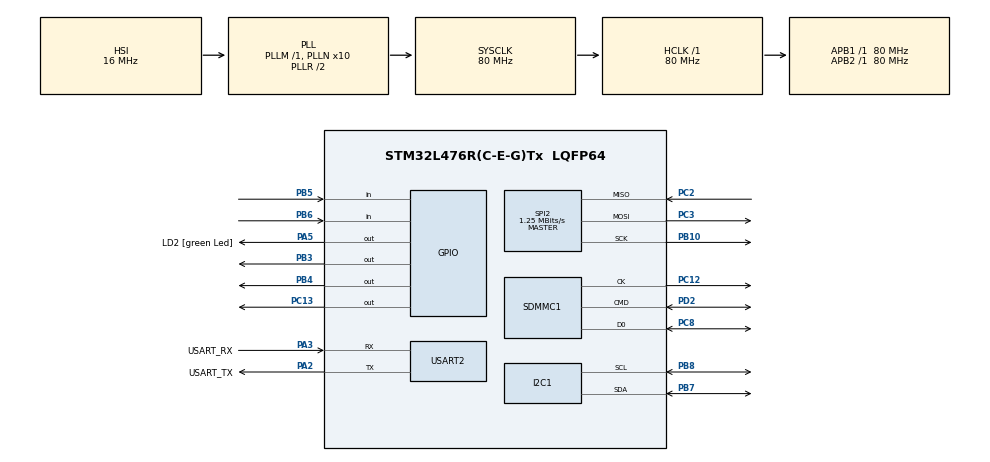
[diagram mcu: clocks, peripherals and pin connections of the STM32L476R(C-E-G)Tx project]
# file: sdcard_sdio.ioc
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Dma.I2C1_RX.0.Direction=DMA_PERIPH_TO_MEMORY
Dma.I2C1_RX.0.Instance=DMA2_Channel6
Dma.I2C1_RX.0.MemDataAlignment=DMA_MDATAALIGN_BYTE
Dma.I2C1_RX.0.MemInc=DMA_MINC_ENABLE
Dma.I2C1_RX.0.Mode=DMA_CIRCULAR
Dma.I2C1_RX.0.PeriphDataAlignment=DMA_PDATAALIGN_BYTE
Dma.I2C1_RX.0.PeriphInc=DMA_PINC_DISABLE
Dma.I2C1_RX.0.Priority=DMA_PRIORITY_LOW
Dma.I2C1_TX.1.Direction=DMA_MEMORY_TO_PERIPH
Dma.I2C1_TX.1.Instance=DMA2_Channel7
Dma.I2C1_TX.1.MemDataAlignment=DMA_MDATAALIGN_BYTE
Dma.I2C1_TX.1.MemInc=DMA_MINC_ENABLE
Dma.I2C1_TX.1.Mode=DMA_CIRCULAR
Dma.I2C1_TX.1.PeriphDataAlignment=DMA_PDATAALIGN_BYTE
Dma.I2C1_TX.1.PeriphInc=DMA_PINC_DISABLE
Dma.I2C1_TX.1.Priority=DMA_PRIORITY_LOW
Dma.Request0=I2C1_RX
Dma.Request1=I2C1_TX
Dma.Request2=USART2_RX
Dma.Request3=USART2_TX
Dma.USART2_RX.2.Direction=DMA_PERIPH_TO_MEMORY
Dma.USART2_RX.2.Instance=DMA1_Channel6
Dma.USART2_RX.2.MemDataAlignment=DMA_MDATAALIGN_BYTE
Dma.USART2_RX.2.MemInc=DMA_MINC_ENABLE
Dma.USART2_RX.2.Mode=DMA_NORMAL
Dma.USART2_RX.2.PeriphDataAlignment=DMA_PDATAALIGN_BYTE
Dma.USART2_RX.2.PeriphInc=DMA_PINC_DISABLE
Dma.USART2_RX.2.Priority=DMA_PRIORITY_LOW
Dma.USART2_TX.3.Direction=DMA_MEMORY_TO_PERIPH
Dma.USART2_TX.3.Instance=DMA1_Channel7
Dma.USART2_TX.3.MemDataAlignment=DMA_MDATAALIGN_BYTE
Dma.USART2_TX.3.MemInc=DMA_MINC_ENABLE
Dma.USART2_TX.3.Mode=DMA_NORMAL
Dma.USART2_TX.3.PeriphDataAlignment=DMA_PDATAALIGN_BYTE
Dma.USART2_TX.3.PeriphInc=DMA_PINC_DISABLE
Dma.USART2_TX.3.Priority=DMA_PRIORITY_LOW
FATFS.BSP.number=1
FATFS.USE_DMA_CODE_SD=0
FATFS0.BSP.STBoard=false
FATFS0.BSP.api=Unknown
FATFS0.BSP.instance=PB6
FATFS0.BSP.ip=GPIO
FATFS0.BSP.mode=Input
FATFS0.BSP.name=Detect_SDIO
FATFS0.BSP.solution=PB6
I2C1.Timing=0x10909CEC
Mcu.Family=STM32L4
Mcu.Name=STM32L476R(C-E-G)Tx
Mcu.Package=LQFP64
NVIC.DMA1_Channel6_IRQn=true\:0\:0\:false\:false\:true\:false\:true\:true
NVIC.DMA1_Channel7_IRQn=true\:0\:0\:false\:false\:true\:false\:true\:true
NVIC.DMA2_Channel6_IRQn=true\:0\:0\:false\:false\:true\:false\:true\:true
NVIC.DMA2_Channel7_IRQn=true\:0\:0\:false\:false\:true\:false\:true\:true
NVIC.PriorityGroup=NVIC_PRIORITYGROUP_4
NVIC.SDMMC1_IRQn=true\:0\:0\:false\:false\:true\:true\:true\:true
NVIC.TIM1_UP_TIM16_IRQn=true\:0\:0\:false\:false\:true\:true\:true\:true
PA13\ (JTMS-SWDIO).GPIO_Label=TMS
PA13\ (JTMS-SWDIO).Mode=Serial_Wire
PA13\ (JTMS-SWDIO).Signal=SYS_JTMS-SWDIO
PA14\ (JTCK-SWCLK).GPIO_Label=TCK
PA14\ (JTCK-SWCLK).Mode=Serial_Wire
PA14\ (JTCK-SWCLK).Signal=SYS_JTCK-SWCLK
PA2.GPIO_Label=USART_TX
PA2.GPIO_Mode=GPIO_MODE_AF_PP
PA2.GPIO_PuPd=GPIO_NOPULL
PA2.GPIO_Speed=GPIO_SPEED_FREQ_VERY_HIGH
PA2.Mode=Asynchronous
PA2.Signal=USART2_TX
PA3.GPIO_Label=USART_RX
PA3.GPIO_Mode=GPIO_MODE_AF_PP
PA3.GPIO_PuPd=GPIO_NOPULL
PA3.GPIO_Speed=GPIO_SPEED_FREQ_VERY_HIGH
PA3.Mode=Asynchronous
PA3.Signal=USART2_RX
PA5.GPIO_Label=LD2 [green Led]
PA5.GPIO_ModeDefaultOutputPP=GPIO_MODE_OUTPUT_PP
PA5.GPIO_PuPd=GPIO_NOPULL
PA5.GPIO_Speed=GPIO_SPEED_FREQ_LOW
PA5.Signal=GPIO_Output
PB10.Mode=Full_Duplex_Master
PB10.Signal=SPI2_SCK
PB3\ (JTDO-TRACESWO).Signal=GPIO_Output
PB4\ (NJTRST).Signal=GPIO_Output
PB5.Signal=GPIO_Input
PB6.Signal=GPIO_Input
PB7.Mode=I2C
PB7.Signal=I2C1_SDA
PB8.Mode=I2C
PB8.Signal=I2C1_SCL
PC12.GPIO_PuPd=GPIO_NOPULL
PC12.Mode=SD_1_bit
PC12.Signal=SDMMC1_CK
PC13.Signal=GPIO_Output
PC14-OSC32_IN\ (PC14).Mode=LSE-External-Oscillator
PC14-OSC32_IN\ (PC14).Signal=RCC_OSC32_IN
PC15-OSC32_OUT\ (PC15).Mode=LSE-External-Oscillator
PC15-OSC32_OUT\ (PC15).Signal=RCC_OSC32_OUT
PC2.Mode=Full_Duplex_Master
PC2.Signal=SPI2_MISO
PC3.Mode=Full_Duplex_Master
PC3.Signal=SPI2_MOSI
PC8.GPIO_PuPd=GPIO_NOPULL
PC8.Mode=SD_1_bit
PC8.Signal=SDMMC1_D0
PD2.GPIO_PuPd=GPIO_NOPULL
PD2.Mode=SD_1_bit
PD2.Signal=SDMMC1_CMD
PH0-OSC_IN\ (PH0).Signal=RCC_OSC_IN
PH1-OSC_OUT\ (PH1).Signal=RCC_OSC_OUT
ProjectManager.HeapSize=0x2000
ProjectManager.StackSize=0x4000
ProjectManager.TargetToolchain=STM32CubeIDE
RCC.ADCFreq_Value=64000000
RCC.AHBFreq_Value=80000000
RCC.APB1Freq_Value=80000000
RCC.APB1TimFreq_Value=80000000
RCC.APB2Freq_Value=80000000
RCC.APB2TimFreq_Value=80000000
RCC.CortexFreq_Value=80000000
RCC.HCLKFreq_Value=80000000
RCC.HSE_VALUE=8000000
RCC.HSI_VALUE=16000000
RCC.MSI_VALUE=4000000
RCC.PLLN=10
RCC.PLLSAI1Q=RCC_PLLQ_DIV4
RCC.PLLSourceVirtual=RCC_PLLSOURCE_HSI
RCC.PREFETCH_ENABLE=1
RCC.SYSCLKFreq_VALUE=80000000
RCC.SYSCLKSource=RCC_SYSCLKSOURCE_PLLCLK
RCC.USBFreq_Value=32000000
RCC.VCOOutputFreq_Value=160000000
RTC.Date=9
RTC.Format=RTC_FORMAT_BIN
RTC.Hours=11
RTC.Minutes=12
RTC.Month=RTC_MONTH_NOVEMBER
RTC.WeekDay=RTC_WEEKDAY_WEDNESDAY
SPI2.BaudRatePrescaler=SPI_BAUDRATEPRESCALER_64
SPI2.CLKPhase=SPI_PHASE_2EDGE
SPI2.CLKPolarity=SPI_POLARITY_HIGH
SPI2.CalculateBaudRate=1.25 MBits/s
SPI2.DataSize=SPI_DATASIZE_8BIT
SPI2.Direction=SPI_DIRECTION_2LINES
SPI2.Mode=SPI_MODE_MASTER
SPI2.VirtualType=VM_MASTER
TIM16.Period=1000
TIM16.Prescaler=7999
USART2.DMADisableonRxErrorParam=ADVFEATURE_DMA_DISABLEONRXERROR
USART2.VirtualMode-Asynchronous=VM_ASYNC
VP_FATFS_VS_SDIO.Mode=SDIO
VP_RTC_VS_RTC_Activate.Mode=RTC_Enabled
VP_RTC_VS_RTC_Calendar.Mode=RTC_Calendar
VP_TIM16_VS_ClockSourceINT.Mode=Enable_Timer
board=NUCLEO-L476RG

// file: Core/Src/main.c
/* USER CODE BEGIN Header */
/**
  ******************************************************************************
  * @file           : main.c
  * @brief          : Main program body
  ******************************************************************************
  * @attention
  *
  * Copyright (c) 2022 STMicroelectronics.
  * All rights reserved.
  *
  * This software is licensed under terms that can be found in the LICENSE file
  * in the root directory of this software component.
  * If no LICENSE file comes with this software, it is provided AS-IS.
  *
  ******************************************************************************
  */
/* USER CODE END Header */
#include "main.h"
#include "fatfs.h"

/* USER CODE BEGIN Includes */
#include "bno080.h"
#include "string.h"
#include "stm32l4xx_hal_rtc.h"
#include "stm32l4xx_hal_rtc_ex.h"
#include "i2c_sensors.h"
#include "logging.h"
#include "bno055_wrapper.h"

/* USER CODE END Includes */

/* USER CODE BEGIN PD */

// Sensor flags
#define USE_FUEL_GAUGE 1
#define USE_PRESSURE_SNSR 1
#define USE_LIGHT_SNSR 1
#define USE_IMU 1

/* USER CODE END PD */

I2C_HandleTypeDef hi2c1;
DMA_HandleTypeDef hdma_i2c1_rx;
DMA_HandleTypeDef hdma_i2c1_tx;

RTC_HandleTypeDef hrtc;

SD_HandleTypeDef hsd1;

SPI_HandleTypeDef hspi2;

TIM_HandleTypeDef htim16;

UART_HandleTypeDef huart2;
DMA_HandleTypeDef hdma_usart2_rx;
DMA_HandleTypeDef hdma_usart2_tx;

/* USER CODE BEGIN PV */
RTC_HandleTypeDef RtcHandle;

static char const header[] =
        "Time:Date, State, WaterTemp degC, "
        "Pressure bar, Batt_V1 V, Batt_V2 V, Batt_I mA, Quat_i, Quat_j, "
        "Quat_k, Quat_Re, AmbientLight, GPS \n";

uint8_t rxData[GPS_LOCATION_LENGTH];

/* USER CODE END PV */

void SystemClock_Config(void);
static void MX_GPIO_Init(void);
static void MX_DMA_Init(void);
static void MX_SDMMC1_SD_Init(void);
static void MX_USART2_UART_Init(void);
static void MX_SPI2_Init(void);
static void MX_I2C1_Init(void);
static void MX_RTC_Init(void);
static void MX_TIM16_Init(void);
/* USER CODE BEGIN PFP */

//static void RTC_TimeStampConfig(void);
static void RTC_CalendarShow(void);

/* USER CODE END PFP */

/* USER CODE BEGIN 0 */

uint8_t aShowTime[25] = {0}, aShowTimeStamp[50] = {0};
uint8_t aShowDate[25] = {0}, aShowDateStamp[50] = {0};

extern bno080_vector_t imuData[20];
uint8_t imuIndex = 0;

/* USER CODE END 0 */

int main(void)
{

  /* MCU Configuration--------------------------------------------------------*/

  /* Reset of all peripherals, Initializes the Flash interface and the Systick. */
  HAL_Init();

  /* Configure the system clock */
  SystemClock_Config();

  /* Initialize all configured peripherals */
  MX_GPIO_Init();
  MX_DMA_Init();
  MX_SDMMC1_SD_Init();
  MX_USART2_UART_Init();
  MX_FATFS_Init();
  MX_SPI2_Init();
  MX_I2C1_Init();
  MX_RTC_Init();
  MX_TIM16_Init();
  /* USER CODE BEGIN 2 */

  // IMU startup functions
#if USE_IMU
  bno055_assignI2C(&hi2c1);
  bno055_setup();
  bno055_setOperationModeNDOF();
#endif
  // Other I2C sensor startup functions
#if USE_PRESSURE_SNSR
  keller_assignI2C(&hi2c1);
#endif
#if USE_FUEL_GAUGE
  fuelGauge_assignI2C(&hi2c1);
#endif
#if USE_LIGHT_SNSR
  light_assignI2C(&hi2c1);
#endif
  sensors_initI2C();

  /* USER CODE END 2 */

  /* Infinite loop */
  /* USER CODE BEGIN WHILE */

  /*##-1- Configure the RTC peripheral #######################################*/
    /* Configure RTC prescaler and RTC data registers */
    /* RTC configured as follow:
        - Hour Format    = Format 12
        - Asynch Prediv  = Value according to source clock
        - Synch Prediv   = Value according to source clock
        - OutPut         = Output Disable
        - OutPutPolarity = High Polarity
        - OutPutType     = Open Drain */
//    __HAL_RTC_RESET_HANDLE_STATE(&RtcHandle);
    RtcHandle.Instance = RTC;
    RtcHandle.Init.HourFormat     = RTC_HOURFORMAT_12;
    RtcHandle.Init.AsynchPrediv   = RTC_ASYNCH_PREDIV;
    RtcHandle.Init.SynchPrediv    = RTC_SYNCH_PREDIV;
    RtcHandle.Init.OutPut         = RTC_OUTPUT_DISABLE;
    RtcHandle.Init.OutPutPolarity = RTC_OUTPUT_POLARITY_HIGH;
    RtcHandle.Init.OutPutType     = RTC_OUTPUT_TYPE_OPENDRAIN;

    if(HAL_RTC_Init(&RtcHandle) != HAL_OK)
    {
      /* Initialization Error */
      Error_Handler();
    }

  RTC_CalendarShow();
  HAL_UARTEx_ReceiveToIdle_DMA(&huart2, rxData, 255);

  // Set the sensor data filename to be the timestamp
  if (logging_mountSD() == FR_OK) {
	  logging_setFilename(aShowTime);

	  // Start the interrupt timer
		logging_writeToFile(header);

		// TODO add the sensor data on the timer callback through the DMA
//	    __HAL_TIM_ENABLE_IT(&htim16, TIM_IT_UPDATE);
//	    HAL_TIM_Base_Start_IT(&htim16);
  }

  bno080_initialization(&hspi2);
  bno080_sendFeatureCommand(SENSOR_REPORTID_ROTATION_VECTOR, 500, 0);

  while (1)
  {
	  RTC_CalendarShow();

	  sensors_getAll(aShowTime, aShowDate);
	  sensors_updatePeriodic();

	  HAL_Delay(1000);

    /* USER CODE END WHILE */

  }
}

void SystemClock_Config(void)
{
  RCC_OscInitTypeDef RCC_OscInitStruct = {0};
  RCC_ClkInitTypeDef RCC_ClkInitStruct = {0};

  /** Configure the main internal regulator output voltage
  */
  if (HAL_PWREx_ControlVoltageScaling(PWR_REGULATOR_VOLTAGE_SCALE1) != HAL_OK)
  {
    Error_Handler();
  }

  /** Initializes the RCC Oscillators according to the specified parameters
  * in the RCC_OscInitTypeDef structure.
  */
  RCC_OscInitStruct.OscillatorType = RCC_OSCILLATORTYPE_HSI|RCC_OSCILLATORTYPE_LSI;
  RCC_OscInitStruct.HSIState = RCC_HSI_ON;
  RCC_OscInitStruct.HSICalibrationValue = RCC_HSICALIBRATION_DEFAULT;
  RCC_OscInitStruct.LSIState = RCC_LSI_ON;
  RCC_OscInitStruct.PLL.PLLState = RCC_PLL_ON;
  RCC_OscInitStruct.PLL.PLLSource = RCC_PLLSOURCE_HSI;
  RCC_OscInitStruct.PLL.PLLM = 1;
  RCC_OscInitStruct.PLL.PLLN = 10;
  RCC_OscInitStruct.PLL.PLLP = RCC_PLLP_DIV7;
  RCC_OscInitStruct.PLL.PLLQ = RCC_PLLQ_DIV2;
  RCC_OscInitStruct.PLL.PLLR = RCC_PLLR_DIV2;
  if (HAL_RCC_OscConfig(&RCC_OscInitStruct) != HAL_OK)
  {
    Error_Handler();
  }

  /** Initializes the CPU, AHB and APB buses clocks
  */
  RCC_ClkInitStruct.ClockType = RCC_CLOCKTYPE_HCLK|RCC_CLOCKTYPE_SYSCLK
                              |RCC_CLOCKTYPE_PCLK1|RCC_CLOCKTYPE_PCLK2;
  RCC_ClkInitStruct.SYSCLKSource = RCC_SYSCLKSOURCE_PLLCLK;
  RCC_ClkInitStruct.AHBCLKDivider = RCC_SYSCLK_DIV1;
  RCC_ClkInitStruct.APB1CLKDivider = RCC_HCLK_DIV1;
  RCC_ClkInitStruct.APB2CLKDivider = RCC_HCLK_DIV1;

  if (HAL_RCC_ClockConfig(&RCC_ClkInitStruct, FLASH_LATENCY_4) != HAL_OK)
  {
    Error_Handler();
  }
}

static void MX_I2C1_Init(void)
{

  hi2c1.Instance = I2C1;
  hi2c1.Init.Timing = 0x10909CEC;
  hi2c1.Init.OwnAddress1 = 0;
  hi2c1.Init.AddressingMode = I2C_ADDRESSINGMODE_7BIT;
  hi2c1.Init.DualAddressMode = I2C_DUALADDRESS_DISABLE;
  hi2c1.Init.OwnAddress2 = 0;
  hi2c1.Init.OwnAddress2Masks = I2C_OA2_NOMASK;
  hi2c1.Init.GeneralCallMode = I2C_GENERALCALL_DISABLE;
  hi2c1.Init.NoStretchMode = I2C_NOSTRETCH_DISABLE;
  if (HAL_I2C_Init(&hi2c1) != HAL_OK)
  {
    Error_Handler();
  }

  /** Configure Analogue filter
  */
  if (HAL_I2CEx_ConfigAnalogFilter(&hi2c1, I2C_ANALOGFILTER_ENABLE) != HAL_OK)
  {
    Error_Handler();
  }

  /** Configure Digital filter
  */
  if (HAL_I2CEx_ConfigDigitalFilter(&hi2c1, 0) != HAL_OK)
  {
    Error_Handler();
  }

}

static void MX_RTC_Init(void)
{

  RTC_TimeTypeDef sTime = {0};
  RTC_DateTypeDef sDate = {0};

  /* USER CODE BEGIN RTC_Init 1 */

    /*##-1- Configure the Time Stamp peripheral ################################*/
    HAL_RTCEx_SetTimeStamp_IT(&RtcHandle, RTC_TIMESTAMPEDGE_RISING, RTC_TIMESTAMPPIN_DEFAULT);

  /* USER CODE END RTC_Init 1 */

  /** Initialize RTC Only
  */
  hrtc.Instance = RTC;
  hrtc.Init.HourFormat = RTC_HOURFORMAT_24;
  hrtc.Init.AsynchPrediv = 127;
  hrtc.Init.SynchPrediv = 255;
  hrtc.Init.OutPut = RTC_OUTPUT_DISABLE;
  hrtc.Init.OutPutRemap = RTC_OUTPUT_REMAP_NONE;
  hrtc.Init.OutPutPolarity = RTC_OUTPUT_POLARITY_HIGH;
  hrtc.Init.OutPutType = RTC_OUTPUT_TYPE_OPENDRAIN;
  if (HAL_RTC_Init(&hrtc) != HAL_OK)
  {
    Error_Handler();
  }

  /* USER CODE BEGIN Check_RTC_BKUP */
  if(HAL_RTCEx_BKUPRead(&hrtc, RTC_BKP_DR0) == '*') {
	  //Time is OK
	  return;
  } else {
	    HAL_RTCEx_BKUPWrite(&hrtc, RTC_BKP_DR0, '*');
  }
  /* USER CODE END Check_RTC_BKUP */

  /** Initialize RTC and set the Time and Date
  */
  sTime.Hours = 11;
  sTime.Minutes = 12;
  sTime.Seconds = 0;
  sTime.DayLightSaving = RTC_DAYLIGHTSAVING_NONE;
  sTime.StoreOperation = RTC_STOREOPERATION_RESET;
  if (HAL_RTC_SetTime(&hrtc, &sTime, RTC_FORMAT_BIN) != HAL_OK)
  {
    Error_Handler();
  }
  sDate.WeekDay = RTC_WEEKDAY_WEDNESDAY;
  sDate.Month = RTC_MONTH_NOVEMBER;
  sDate.Date = 9;
  sDate.Year = 0;

  if (HAL_RTC_SetDate(&hrtc, &sDate, RTC_FORMAT_BIN) != HAL_OK)
  {
    Error_Handler();
  }

}

static void MX_SDMMC1_SD_Init(void)
{

  hsd1.Instance = SDMMC1;
  hsd1.Init.ClockEdge = SDMMC_CLOCK_EDGE_RISING;
  hsd1.Init.ClockBypass = SDMMC_CLOCK_BYPASS_DISABLE;
  hsd1.Init.ClockPowerSave = SDMMC_CLOCK_POWER_SAVE_DISABLE;
  hsd1.Init.BusWide = SDMMC_BUS_WIDE_1B;
  hsd1.Init.HardwareFlowControl = SDMMC_HARDWARE_FLOW_CONTROL_DISABLE;
  hsd1.Init.ClockDiv = 0;

}

static void MX_SPI2_Init(void)
{

  /* USER CODE BEGIN SPI2_Init 1 */
	/**
	 * SPI2 GPIO Configuration for BNO080
		PB10   ------> SPI2_SCK
		PC2   ------> SPI2_MISO
		PC3   ------> SPI2_MOSI
   BNO080 GPIO Control Configuration
  	 * PB4 ------> BNO080_CS (output)
  	 * PC13  ------> BNO080_PS0/WAKE (output)
  	 * PB3  ------> BNO080_RST (output)
  	 * PB5  ------> BNO080_INT (input)
  	 */

  /* USER CODE END SPI2_Init 1 */
  /* SPI2 parameter configuration*/
  hspi2.Instance = SPI2;
  hspi2.Init.Mode = SPI_MODE_MASTER;
  hspi2.Init.Direction = SPI_DIRECTION_2LINES;
  hspi2.Init.DataSize = SPI_DATASIZE_8BIT;
  hspi2.Init.CLKPolarity = SPI_POLARITY_HIGH;
  hspi2.Init.CLKPhase = SPI_PHASE_2EDGE;
  hspi2.Init.NSS = SPI_NSS_SOFT;
  hspi2.Init.BaudRatePrescaler = SPI_BAUDRATEPRESCALER_64;
  hspi2.Init.FirstBit = SPI_FIRSTBIT_MSB;
  hspi2.Init.TIMode = SPI_TIMODE_DISABLE;
  hspi2.Init.CRCCalculation = SPI_CRCCALCULATION_DISABLE;
  hspi2.Init.CRCPolynomial = 7;
  hspi2.Init.CRCLength = SPI_CRC_LENGTH_DATASIZE;
  hspi2.Init.NSSPMode = SPI_NSS_PULSE_DISABLE;
  if (HAL_SPI_Init(&hspi2) != HAL_OK)
  {
    Error_Handler();
  }
  /* USER CODE BEGIN SPI2_Init 2 */
//  hspi2.Init.CLKPolarity = SPI_POLARITY_HIGH;
//    hspi2.Init.CLKPhase = SPI_PHASE_2EDGE;
  /* USER CODE END SPI2_Init 2 */

}

static void MX_TIM16_Init(void)
{

  htim16.Instance = TIM16;
  htim16.Init.Prescaler = 7999;
  htim16.Init.CounterMode = TIM_COUNTERMODE_UP;
  htim16.Init.Period = 1000;
  htim16.Init.ClockDivision = TIM_CLOCKDIVISION_DIV1;
  htim16.Init.RepetitionCounter = 0;
  htim16.Init.AutoReloadPreload = TIM_AUTORELOAD_PRELOAD_DISABLE;
  if (HAL_TIM_Base_Init(&htim16) != HAL_OK)
  {
    Error_Handler();
  }

}

static void MX_USART2_UART_Init(void)
{

  huart2.Instance = USART2;
  huart2.Init.BaudRate = 115200;
  huart2.Init.WordLength = UART_WORDLENGTH_8B;
  huart2.Init.StopBits = UART_STOPBITS_1;
  huart2.Init.Parity = UART_PARITY_NONE;
  huart2.Init.Mode = UART_MODE_TX_RX;
  huart2.Init.HwFlowCtl = UART_HWCONTROL_NONE;
  huart2.Init.OverSampling = UART_OVERSAMPLING_16;
  huart2.Init.OneBitSampling = UART_ONE_BIT_SAMPLE_DISABLE;
  huart2.AdvancedInit.AdvFeatureInit = UART_ADVFEATURE_DMADISABLEONERROR_INIT;
  huart2.AdvancedInit.DMADisableonRxError = UART_ADVFEATURE_DMA_DISABLEONRXERROR;
  if (HAL_UART_Init(&huart2) != HAL_OK)
  {
    Error_Handler();
  }

}

static void MX_DMA_Init(void)
{

  /* DMA controller clock enable */
  __HAL_RCC_DMA2_CLK_ENABLE();
  __HAL_RCC_DMA1_CLK_ENABLE();

  /* DMA interrupt init */
  /* DMA1_Channel6_IRQn interrupt configuration */
  HAL_NVIC_SetPriority(DMA1_Channel6_IRQn, 0, 0);
  HAL_NVIC_EnableIRQ(DMA1_Channel6_IRQn);
  /* DMA1_Channel7_IRQn interrupt configuration */
  HAL_NVIC_SetPriority(DMA1_Channel7_IRQn, 0, 0);
  HAL_NVIC_EnableIRQ(DMA1_Channel7_IRQn);
  /* DMA2_Channel6_IRQn interrupt configuration */
  HAL_NVIC_SetPriority(DMA2_Channel6_IRQn, 0, 0);
  HAL_NVIC_EnableIRQ(DMA2_Channel6_IRQn);
  /* DMA2_Channel7_IRQn interrupt configuration */
  HAL_NVIC_SetPriority(DMA2_Channel7_IRQn, 0, 0);
  HAL_NVIC_EnableIRQ(DMA2_Channel7_IRQn);

}

static void MX_GPIO_Init(void)
{
  GPIO_InitTypeDef GPIO_InitStruct = {0};

  /* GPIO Ports Clock Enable */
  __HAL_RCC_GPIOC_CLK_ENABLE();
  __HAL_RCC_GPIOH_CLK_ENABLE();
  __HAL_RCC_GPIOA_CLK_ENABLE();
  __HAL_RCC_GPIOB_CLK_ENABLE();
  __HAL_RCC_GPIOD_CLK_ENABLE();

  /*Configure GPIO pin Output Level */
  HAL_GPIO_WritePin(GPIOC, GPIO_PIN_13, GPIO_PIN_RESET);

  /*Configure GPIO pin Output Level */
  HAL_GPIO_WritePin(LD2_GPIO_Port, LD2_Pin, GPIO_PIN_RESET);

  /*Configure GPIO pin Output Level */
  HAL_GPIO_WritePin(GPIOB, GPIO_PIN_3|GPIO_PIN_4, GPIO_PIN_RESET);

  /*Configure GPIO pin : PC13 */
  GPIO_InitStruct.Pin = GPIO_PIN_13;
  GPIO_InitStruct.Mode = GPIO_MODE_OUTPUT_PP;
  GPIO_InitStruct.Pull = GPIO_NOPULL;
  GPIO_InitStruct.Speed = GPIO_SPEED_FREQ_LOW;
  HAL_GPIO_Init(GPIOC, &GPIO_InitStruct);

  /*Configure GPIO pin : LD2_Pin */
  GPIO_InitStruct.Pin = LD2_Pin;
  GPIO_InitStruct.Mode = GPIO_MODE_OUTPUT_PP;
  GPIO_InitStruct.Pull = GPIO_NOPULL;
  GPIO_InitStruct.Speed = GPIO_SPEED_FREQ_LOW;
  HAL_GPIO_Init(LD2_GPIO_Port, &GPIO_InitStruct);

  /*Configure GPIO pins : PB3 PB4 */
  GPIO_InitStruct.Pin = GPIO_PIN_3|GPIO_PIN_4;
  GPIO_InitStruct.Mode = GPIO_MODE_OUTPUT_PP;
  GPIO_InitStruct.Pull = GPIO_NOPULL;
  GPIO_InitStruct.Speed = GPIO_SPEED_FREQ_LOW;
  HAL_GPIO_Init(GPIOB, &GPIO_InitStruct);

  /*Configure GPIO pins : PB5 PB6 */
  GPIO_InitStruct.Pin = GPIO_PIN_5|GPIO_PIN_6;
  GPIO_InitStruct.Mode = GPIO_MODE_INPUT;
  GPIO_InitStruct.Pull = GPIO_NOPULL;
  HAL_GPIO_Init(GPIOB, &GPIO_InitStruct);

}

/* USER CODE BEGIN 4 */

/**
  * @brief  Timestamp callback
  * @param  hrtc : hrtc handle
  * @retval None
  */
void HAL_RTCEx_TimeStampEventCallback(RTC_HandleTypeDef *hrtc)
{
  RTC_DateTypeDef sTimeStampDateget;
  RTC_TimeTypeDef sTimeStampget;

  HAL_RTCEx_GetTimeStamp(&RtcHandle, &sTimeStampget, &sTimeStampDateget, RTC_FORMAT_BIN);

  /* Display time Format : hh:mm:ss */
  sprintf((char*)aShowTimeStamp,"%.2d%.2d%.2d", sTimeStampget.Hours, sTimeStampget.Minutes, sTimeStampget.Seconds);
  /* Display date Format : mm-dd */
  sprintf((char*)aShowDateStamp,"%.2d%.2d%.2d", sTimeStampDateget.Month, sTimeStampDateget.Date, 2014);
}

/**
  * @brief  Display the current time and date.
  * @param  showtime : pointer to buffer
  * @param  showdate : pointer to buffer
  * @retval None
  */
static void RTC_CalendarShow(void)
{
  RTC_DateTypeDef sdatestructureget;
  RTC_TimeTypeDef stimestructureget;

  /* Get the RTC current Time */
  HAL_RTC_GetTime(&RtcHandle, &stimestructureget, RTC_FORMAT_BIN);
  /* Get the RTC current Date */
  HAL_RTC_GetDate(&RtcHandle, &sdatestructureget, RTC_FORMAT_BIN);

  /* Display time Format : hh:mm:ss */
  sprintf((char*)aShowTime,"%.2d%.2d%.2d", stimestructureget.Hours, stimestructureget.Minutes, stimestructureget.Seconds);
  /* Display date Format : mm-dd-yy */
  sprintf((char*)aShowDate,"%.2d%.2d%.2d",  2000 + sdatestructureget.Year, sdatestructureget.Month, sdatestructureget.Date);
}

// Callback: timer has rolled over
void HAL_TIM_PeriodElapsedCallback(TIM_HandleTypeDef *htim)
{
  // Check which version of the timer triggered this callback and toggle LED
  if (htim == &htim16)
  {
//	  RTC_CalendarShow();
	  sensors_updatePeriodic();
  }
}

void HAL_UART_RxCpltCallback(UART_HandleTypeDef *huart) {
//	if (huart == &huart2) {
//		if(__HAL_UART_GET_FLAG(huart, UART_FLAG_IDLE))
//		{
////			__HAL_UART_CLEAR_IDLEFLAG(huart);
//			uint8_t rxd = rxData[0];
//		}
//	}
//	HAL_UART_Receive_IT(&huart2, rxData, GPS_LOCATION_LENGTH);
}

void HAL_UARTEx_RxEventCallback(UART_HandleTypeDef *huart, uint16_t Size) {
	HAL_UARTEx_ReceiveToIdle_DMA(huart, rxData, 255);
//	  __HAL_DMA_DISABLE_IT(huart, DMA_IT_HT);
}

/* USER CODE END 4 */

void Error_Handler(void)
{
  __disable_irq();
}
